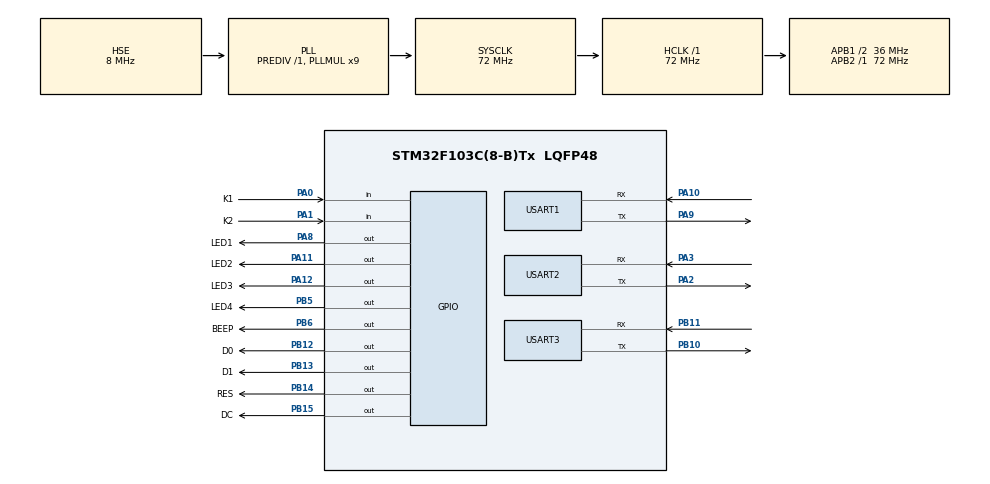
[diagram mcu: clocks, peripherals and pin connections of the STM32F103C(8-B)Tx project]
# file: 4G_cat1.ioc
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Dma.MEMTOMEM.4.Direction=DMA_MEMORY_TO_MEMORY
Dma.MEMTOMEM.4.Instance=DMA1_Channel1
Dma.MEMTOMEM.4.MemDataAlignment=DMA_MDATAALIGN_BYTE
Dma.MEMTOMEM.4.MemInc=DMA_MINC_ENABLE
Dma.MEMTOMEM.4.Mode=DMA_NORMAL
Dma.MEMTOMEM.4.PeriphDataAlignment=DMA_PDATAALIGN_BYTE
Dma.MEMTOMEM.4.PeriphInc=DMA_PINC_ENABLE
Dma.MEMTOMEM.4.Priority=DMA_PRIORITY_MEDIUM
Dma.Request0=USART3_RX
Dma.Request1=USART3_TX
Dma.Request2=USART1_RX
Dma.Request3=USART1_TX
Dma.Request4=MEMTOMEM
Dma.USART1_RX.2.Direction=DMA_PERIPH_TO_MEMORY
Dma.USART1_RX.2.Instance=DMA1_Channel5
Dma.USART1_RX.2.MemDataAlignment=DMA_MDATAALIGN_BYTE
Dma.USART1_RX.2.MemInc=DMA_MINC_ENABLE
Dma.USART1_RX.2.Mode=DMA_NORMAL
Dma.USART1_RX.2.PeriphDataAlignment=DMA_PDATAALIGN_BYTE
Dma.USART1_RX.2.PeriphInc=DMA_PINC_DISABLE
Dma.USART1_RX.2.Priority=DMA_PRIORITY_MEDIUM
Dma.USART1_TX.3.Direction=DMA_MEMORY_TO_PERIPH
Dma.USART1_TX.3.Instance=DMA1_Channel4
Dma.USART1_TX.3.MemDataAlignment=DMA_MDATAALIGN_BYTE
Dma.USART1_TX.3.MemInc=DMA_MINC_ENABLE
Dma.USART1_TX.3.Mode=DMA_NORMAL
Dma.USART1_TX.3.PeriphDataAlignment=DMA_PDATAALIGN_BYTE
Dma.USART1_TX.3.PeriphInc=DMA_PINC_DISABLE
Dma.USART1_TX.3.Priority=DMA_PRIORITY_MEDIUM
Dma.USART3_RX.0.Direction=DMA_PERIPH_TO_MEMORY
Dma.USART3_RX.0.Instance=DMA1_Channel3
Dma.USART3_RX.0.MemDataAlignment=DMA_MDATAALIGN_BYTE
Dma.USART3_RX.0.MemInc=DMA_MINC_ENABLE
Dma.USART3_RX.0.Mode=DMA_NORMAL
Dma.USART3_RX.0.PeriphDataAlignment=DMA_PDATAALIGN_BYTE
Dma.USART3_RX.0.PeriphInc=DMA_PINC_DISABLE
Dma.USART3_RX.0.Priority=DMA_PRIORITY_MEDIUM
Dma.USART3_TX.1.Direction=DMA_MEMORY_TO_PERIPH
Dma.USART3_TX.1.Instance=DMA1_Channel2
Dma.USART3_TX.1.MemDataAlignment=DMA_MDATAALIGN_BYTE
Dma.USART3_TX.1.MemInc=DMA_MINC_ENABLE
Dma.USART3_TX.1.Mode=DMA_NORMAL
Dma.USART3_TX.1.PeriphDataAlignment=DMA_PDATAALIGN_BYTE
Dma.USART3_TX.1.PeriphInc=DMA_PINC_DISABLE
Dma.USART3_TX.1.Priority=DMA_PRIORITY_MEDIUM
Mcu.Family=STM32F1
Mcu.Name=STM32F103C(8-B)Tx
Mcu.Package=LQFP48
NVIC.DMA1_Channel1_IRQn=true\:0\:2\:false\:false\:true\:true\:true\:true
NVIC.DMA1_Channel2_IRQn=true\:1\:0\:true\:false\:true\:false\:true\:true
NVIC.DMA1_Channel3_IRQn=true\:1\:0\:true\:false\:true\:false\:true\:true
NVIC.DMA1_Channel4_IRQn=true\:1\:0\:true\:false\:true\:false\:true\:true
NVIC.DMA1_Channel5_IRQn=true\:1\:1\:true\:false\:true\:false\:true\:true
NVIC.PriorityGroup=NVIC_PRIORITYGROUP_2
NVIC.RCC_IRQn=true\:0\:0\:false\:false\:true\:true\:false\:true
NVIC.TIM1_UP_IRQn=true\:0\:3\:false\:false\:true\:true\:true\:true
NVIC.TIM2_IRQn=true\:0\:3\:false\:false\:true\:true\:true\:true
NVIC.TIM3_IRQn=true\:0\:3\:false\:false\:true\:true\:true\:true
NVIC.TIM4_IRQn=true\:0\:3\:false\:false\:true\:true\:true\:true
NVIC.USART1_IRQn=true\:1\:0\:true\:false\:true\:true\:true\:true
NVIC.USART2_IRQn=true\:1\:0\:true\:false\:true\:true\:true\:true
NVIC.USART3_IRQn=true\:1\:0\:true\:false\:true\:true\:true\:true
PA0-WKUP.GPIO_Label=K1
PA0-WKUP.Signal=GPIO_Input
PA1.GPIO_Label=K2
PA1.Signal=GPIO_Input
PA10.Mode=Asynchronous
PA10.Signal=USART1_RX
PA11.GPIO_Label=LED2
PA11.GPIO_Speed=GPIO_SPEED_FREQ_HIGH
PA11.PinState=GPIO_PIN_SET
PA11.Signal=GPIO_Output
PA12.GPIO_Label=LED3
PA12.GPIO_Speed=GPIO_SPEED_FREQ_HIGH
PA12.PinState=GPIO_PIN_SET
PA12.Signal=GPIO_Output
PA13.Mode=Serial_Wire
PA13.Signal=SYS_JTMS-SWDIO
PA14.Mode=Serial_Wire
PA14.Signal=SYS_JTCK-SWCLK
PA2.Mode=Asynchronous
PA2.Signal=USART2_TX
PA3.Mode=Asynchronous
PA3.Signal=USART2_RX
PA8.GPIO_Label=LED1
PA8.GPIO_Speed=GPIO_SPEED_FREQ_HIGH
PA8.PinState=GPIO_PIN_SET
PA8.Signal=GPIO_Output
PA9.Mode=Asynchronous
PA9.Signal=USART1_TX
PB10.Mode=Asynchronous
PB10.Signal=USART3_TX
PB11.Mode=Asynchronous
PB11.Signal=USART3_RX
PB12.GPIO_Label=D0
PB12.GPIO_Speed=GPIO_SPEED_FREQ_HIGH
PB12.PinState=GPIO_PIN_SET
PB12.Signal=GPIO_Output
PB13.GPIO_Label=D1
PB13.GPIO_Speed=GPIO_SPEED_FREQ_HIGH
PB13.PinState=GPIO_PIN_SET
PB13.Signal=GPIO_Output
PB14.GPIO_Label=RES
PB14.GPIO_Speed=GPIO_SPEED_FREQ_HIGH
PB14.PinState=GPIO_PIN_SET
PB14.Signal=GPIO_Output
PB15.GPIO_Label=DC
PB15.GPIO_Speed=GPIO_SPEED_FREQ_HIGH
PB15.PinState=GPIO_PIN_SET
PB15.Signal=GPIO_Output
PB5.GPIO_Label=LED4
PB5.GPIO_Speed=GPIO_SPEED_FREQ_HIGH
PB5.PinState=GPIO_PIN_SET
PB5.Signal=GPIO_Output
PB6.GPIO_Label=BEEP
PB6.GPIO_Speed=GPIO_SPEED_FREQ_HIGH
PB6.Signal=GPIO_Output
PD0-OSC_IN.Mode=HSE-External-Oscillator
PD0-OSC_IN.Signal=RCC_OSC_IN
PD1-OSC_OUT.Mode=HSE-External-Oscillator
PD1-OSC_OUT.Signal=RCC_OSC_OUT
ProjectManager.HeapSize=0x200
ProjectManager.StackSize=0x400
ProjectManager.TargetToolchain=MDK-ARM V5.32
RCC.AHBFreq_Value=72000000
RCC.APB1CLKDivider=RCC_HCLK_DIV2
RCC.APB1Freq_Value=36000000
RCC.APB1TimFreq_Value=72000000
RCC.APB2Freq_Value=72000000
RCC.APB2TimFreq_Value=72000000
RCC.HCLKFreq_Value=72000000
RCC.PLLMUL=RCC_PLL_MUL9
RCC.PLLSourceVirtual=RCC_PLLSOURCE_HSE
RCC.SYSCLKFreq_VALUE=72000000
RCC.SYSCLKSource=RCC_SYSCLKSOURCE_PLLCLK
RCC.USBFreq_Value=72000000
TIM1.Period=4999
TIM1.Prescaler=1439
TIM2.Period=9999
TIM2.Prescaler=7199
TIM3.Period=14999
TIM3.Prescaler=7199
TIM4.Period=19999
TIM4.Prescaler=7199
USART1.VirtualMode=VM_ASYNC
USART2.VirtualMode=VM_ASYNC
USART3.VirtualMode=VM_ASYNC
VP_TIM1_VS_ClockSourceINT.Mode=Internal
VP_TIM2_VS_ClockSourceINT.Mode=Internal
VP_TIM3_VS_ClockSourceINT.Mode=Internal
VP_TIM4_VS_ClockSourceINT.Mode=Internal
board=custom

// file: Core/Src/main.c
/* USER CODE BEGIN Header */
/**
 ******************************************************************************
 * @file           : main.c
 * @brief          : Main program body
 ******************************************************************************
 * @attention
 *
 * Copyright (c) 2023 STMicroelectronics.
 * All rights reserved.
 *
 * This software is licensed under terms that can be found in the LICENSE file
 * in the root directory of this software component.
 * If no LICENSE file comes with this software, it is provided AS-IS.
 *
 ******************************************************************************
 */
/* USER CODE END Header */
#include "main.h"
#include "dma.h"
#include "tim.h"
#include "usart.h"
#include "gpio.h"

/* USER CODE BEGIN Includes */
#include "oled.h"
#include "bmp.h"
#include <string.h>
/* USER CODE END Includes */

/* USER CODE BEGIN PTD */
uint8_t Senbuff[] = "\r\n**** Serial Output Message by DMA ***\r\n   UART DMA Test \r\n   Zxiaoxuan"; // 瀹氫箟鏁版嵁鍙戦?佹暟缁?

#define RXBUFFERSIZE 512               // 最大接收字节数
uint8_t RxBuffer[RXBUFFERSIZE]  = {0}; // 接收数据
uint8_t DATA[RXBUFFERSIZE]      = {0}; // 接收数据
uint8_t show_DATA[RXBUFFERSIZE] = {0}; // 显示数据

uint8_t aRxBuffer;     // 接收中断缓冲
char Uart1_Rx_Cnt = 0; // 接收缓冲计数
char flag         = 0; // 接收标志位
char show_flag    = 0; // 显示更新标志位
/* USER CODE END PTD */

void SystemClock_Config(void);
/* USER CODE BEGIN PFP */
void oled_show(void);
void Data_parsing(void);
void show_parsing(void);
/* USER CODE END PFP */

int main(void)
{

    /* MCU Configuration--------------------------------------------------------*/

    /* Reset of all peripherals, Initializes the Flash interface and the Systick. */
    HAL_Init();

    /* Configure the system clock */
    SystemClock_Config();

    /* Initialize all configured peripherals */
    MX_GPIO_Init();
    MX_DMA_Init();
    MX_TIM1_Init();
    MX_TIM2_Init();
    MX_TIM3_Init();
    MX_TIM4_Init();
    MX_USART1_UART_Init();
    MX_USART2_UART_Init();
    MX_USART3_UART_Init();
    /* USER CODE BEGIN 2 */
    HAL_TIM_Base_Start_IT(&htim1);
    HAL_TIM_Base_Start_IT(&htim2);
    HAL_TIM_Base_Start_IT(&htim3);
    HAL_TIM_Base_Start_IT(&htim4);

    OLED_Init();
    OLED_ColorTurn(0);   // 0正常显示，1反色显示
    OLED_DisplayTurn(0); // 0正常显示，1屏幕翻转显示
    HAL_UART_Receive_DMA(&huart1, RxBuffer, 512);

    /* USER CODE END 2 */

    /* Infinite loop */
    /* USER CODE BEGIN WHILE */
    while (1) {
        oled_show();
        if (flag != 0) {
            /* code */
            HAL_GPIO_TogglePin(GPIOA, LED3_Pin);
            Data_parsing();
            flag = 0;
        }
        /* USER CODE END WHILE */

    }
}

void SystemClock_Config(void)
{
    RCC_OscInitTypeDef RCC_OscInitStruct = {0};
    RCC_ClkInitTypeDef RCC_ClkInitStruct = {0};

    /** Initializes the RCC Oscillators according to the specified parameters
     * in the RCC_OscInitTypeDef structure.
     */
    RCC_OscInitStruct.OscillatorType = RCC_OSCILLATORTYPE_HSE;
    RCC_OscInitStruct.HSEState       = RCC_HSE_ON;
    RCC_OscInitStruct.HSEPredivValue = RCC_HSE_PREDIV_DIV1;
    RCC_OscInitStruct.HSIState       = RCC_HSI_ON;
    RCC_OscInitStruct.PLL.PLLState   = RCC_PLL_ON;
    RCC_OscInitStruct.PLL.PLLSource  = RCC_PLLSOURCE_HSE;
    RCC_OscInitStruct.PLL.PLLMUL     = RCC_PLL_MUL9;
    if (HAL_RCC_OscConfig(&RCC_OscInitStruct) != HAL_OK) {
        Error_Handler();
    }

    /** Initializes the CPU, AHB and APB buses clocks
     */
    RCC_ClkInitStruct.ClockType      = RCC_CLOCKTYPE_HCLK | RCC_CLOCKTYPE_SYSCLK | RCC_CLOCKTYPE_PCLK1 | RCC_CLOCKTYPE_PCLK2;
    RCC_ClkInitStruct.SYSCLKSource   = RCC_SYSCLKSOURCE_PLLCLK;
    RCC_ClkInitStruct.AHBCLKDivider  = RCC_SYSCLK_DIV1;
    RCC_ClkInitStruct.APB1CLKDivider = RCC_HCLK_DIV2;
    RCC_ClkInitStruct.APB2CLKDivider = RCC_HCLK_DIV1;

    if (HAL_RCC_ClockConfig(&RCC_ClkInitStruct, FLASH_LATENCY_2) != HAL_OK) {
        Error_Handler();
    }
}

/* USER CODE BEGIN 4 */
void oled_show(void)
{
    // uint8_t t = ' ';
    // OLED_ShowPicture(0, 0, 128, 64, BMP1, 1);
    OLED_Refresh();
    // HAL_Delay(1500);
    // OLED_Clear();
    // OLED_ShowChinese(0, 0, 0, 16, 1);   // 中
    // OLED_ShowChinese(18, 0, 1, 16, 1);  // 景
    // OLED_ShowChinese(36, 0, 2, 16, 1);  // 园
    // OLED_ShowChinese(54, 0, 3, 16, 1);  // 电
    // OLED_ShowChinese(72, 0, 4, 16, 1);  // 子
    // OLED_ShowChinese(90, 0, 5, 16, 1);  // 技
    // OLED_ShowChinese(108, 0, 6, 16, 1); // 术
    // OLED_ShowString(8, 16, "ZHONGJINGYUAN", 16, 1);
    // OLED_ShowString(20, 32, "2014/05/01", 16, 1);
    OLED_ShowString(0, 48, "ASCII:", 16, 1);
    OLED_ShowString(0, 0, show_DATA, 16, 1);
    // OLED_ShowChar(54, 0, Uart1_Rx_Cnt, 24, 1); // 显示ASCII字符
    // t++;
    // if (t > '~') t = ' ';
    OLED_ShowNum(103, 48, Uart1_Rx_Cnt, 3, 16, 1);
    // OLED_Refresh();
    // HAL_Delay(1500);
    // OLED_Clear();
    // OLED_ShowChinese(0, 0, 0, 16, 1);   // 16*16 中
    // OLED_ShowChinese(16, 0, 0, 24, 1);  // 24*24 中
    // OLED_ShowChinese(24, 20, 0, 32, 1); // 32*32 中
    // OLED_ShowChinese(64, 0, 0, 64, 1);  // 64*64 中
    // OLED_Refresh();
    // HAL_Delay(1500);
    // OLED_Clear();
    // OLED_ShowString(0, 0, "ABC", 8, 1);   // 6*8 ABC
    // OLED_ShowString(0, 8, "ABC", 12, 1);  // 6*12 ABC
    // OLED_ShowString(0, 20, "ABC", 16, 1); // 8*16 ABC
    // OLED_ShowString(0, 36, "ABC", 24, 1); // 12*24 ABC
    // OLED_Refresh();
    // HAL_Delay(1500);
    // OLED_ScrollDisplay(11, 4, 1);  //这是个无限循环
}
void HAL_TIM_PeriodElapsedCallback(TIM_HandleTypeDef *htim)
{
    if (htim == (&htim1)) {
        /* code */
    }
    if (htim == (&htim2)) {
        /* code */
        // HAL_GPIO_TogglePin(GPIOA, LED1_Pin);
    }
    if (htim == (&htim3)) {
        /* code */
        // HAL_GPIO_TogglePin(GPIOA, LED1_Pin);
    }
    if (htim == (&htim4)) {
        /* code */
        // HAL_GPIO_TogglePin(GPIOA, LED1_Pin);
    }
}
void HAL_UART_RxCpltCallback(UART_HandleTypeDef *huart)
{
    if (huart == (&huart1)) {
        /* code */
        HAL_GPIO_TogglePin(GPIOA, LED1_Pin);
    }
    if (huart == (&huart2)) {
        /* code */
        // HAL_GPIO_TogglePin(GPIOA, LED1_Pin);
    }
}
void Data_parsing(void)
{
    for (size_t i = 0; i < Uart1_Rx_Cnt; i++) {
        /* code */
        DATA[i] = RxBuffer[i];
    }
    HAL_UART_Transmit_DMA(&huart1, (uint8_t *)&DATA, Uart1_Rx_Cnt);
    show_flag++;
    show_parsing();
    memset(RxBuffer, 0, Uart1_Rx_Cnt);
}

void show_parsing(void)
{
    if (show_flag != 0) {
        /* code */
        HAL_GPIO_TogglePin(LED2_GPIO_Port,LED2_Pin);
        // OLED_DisPlay_Off();
        // OLED_DisPlay_On();
        // OLED_Clear();
        OLED_Refresh();
        memset(show_DATA, 0, 100);
        HAL_DMA_Start(&hdma_memtomem_dma1_channel1, (uint32_t)DATA, (uint32_t)show_DATA, 12);
        HAL_UART_Transmit(&huart1,(uint8_t *)show_DATA[0],2,0xffff);
        show_flag = 0;
    }
}

/* USER CODE END 4 */

void Error_Handler(void)
{
    __disable_irq();
    while (1) {
    }
}
